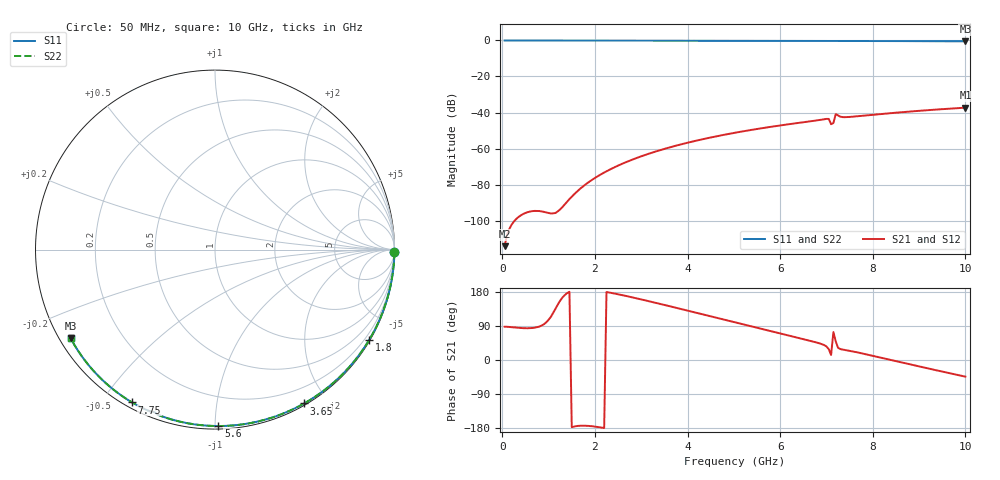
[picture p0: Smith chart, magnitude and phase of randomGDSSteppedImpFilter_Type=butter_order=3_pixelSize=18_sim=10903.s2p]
! freq	dB(S11)	phase(S11)	dB(S12)	phase(S12)
!  dB(S21)	phase(S21)	dB(S22)	phase(S22)
!S-par simulation data
#  GHz  S  DB  R 50
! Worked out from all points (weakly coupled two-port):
!   200 points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, 50 MHz to 10 GHz, reference 50 ohm
!   highest |S21| = -37.32 dB at 10 GHz (marker M1); lowest = -114.2 dB at 50 MHz (marker M2)
!   lowest |S11| = -0.5 dB at 10 GHz (marker M3), VSWR 34.48, Z = 1.57 - j14.1 ohm
!   |S11| at or under -10 dB: nowhere
!   |S22| runs from -0.5 to 0.0 dB; largest |S21 - S12| = 0
!   S11 on the Smith chart (normalised r, x): 50 MHz: open; 1.8 GHz: 0.03, -3.69; 3.65 GHz: 0.02, -1.73; 5.6 GHz: 0.02, -1.02; 7.75 GHz: 0.02, -0.60; 10 GHz: 0.03, -0.28
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0.05  -0.00 -0.9  -114.21 87.8  -114.21 87.8  -0.00 -0.9
0.9  -0.02 -15.3  -95.17 94.5  -95.17 94.5  -0.02 -15.3
1.75  -0.04 -29.5  -80.89 -173.3  -80.89 -173.3  -0.04 -29.5
1.8  -0.04 -30.3  -79.89 -173.5  -79.89 -173.5  -0.04 -30.3
2.1  -0.05 -35.3  -74.78 -177.4  -74.78 -177.4  -0.05 -35.2
2.5  -0.05 -41.8  -69.48 173.5  -69.48 173.5  -0.05 -41.7
2.9  -0.06 -48.2  -65.26 162.7  -65.26 162.7  -0.06 -48.2
3.4  -0.07 -56.1  -60.96 148.3  -60.96 148.3  -0.07 -56.0
3.65  -0.08 -59.9  -59.11 140.9  -59.11 140.9  -0.08 -59.9
4.3  -0.10 -69.9  -54.98 121.3  -54.98 121.3  -0.10 -69.8
5.05  -0.12 -81.0  -51.12 98.6  -51.12 98.6  -0.12 -80.9
5.6  -0.15 -88.9  -48.74 82.0  -48.74 82.0  -0.15 -88.9
6.7  -0.20 -104.3  -44.71 49.0  -44.71 49.0  -0.20 -104.3
7.05  -0.24 -109.3  -43.57 28.5  -43.57 28.5  -0.24 -109.3
7.1  -0.28 -110.0  -46.51 13.2  -46.51 13.2  -0.28 -109.9
7.15  -0.29 -110.4  -45.84 73.9  -45.84 73.9  -0.29 -110.4
7.2  -0.29 -110.9  -40.89 49.2  -40.89 49.2  -0.29 -110.9
7.3  -0.25 -112.3  -42.33 28.7  -42.33 28.7  -0.25 -112.2
7.35  -0.25 -113.0  -42.56 27.6  -42.56 27.6  -0.25 -112.9
7.75  -0.28 -118.4  -41.88 17.9  -41.88 17.9  -0.28 -118.4
8.35  -0.33 -126.5  -40.44 1.2  -40.44 1.2  -0.33 -126.4
10  -0.50 -148.5  -37.32 -43.9  -37.32 -43.9  -0.50 -148.5
